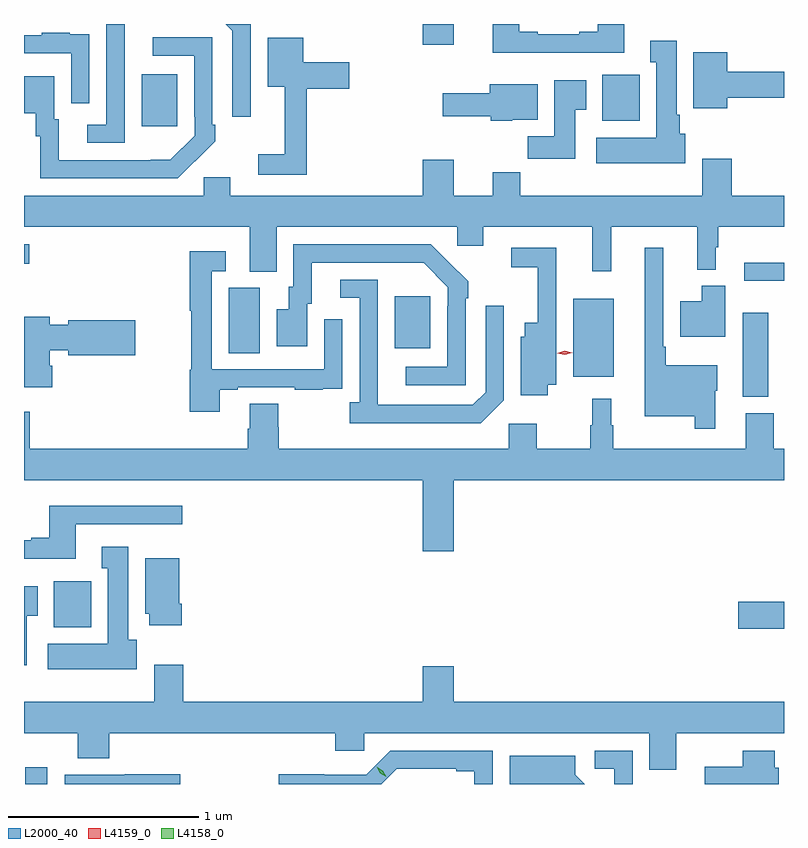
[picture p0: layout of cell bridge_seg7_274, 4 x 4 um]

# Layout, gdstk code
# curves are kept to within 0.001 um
import gdstk
lib = gdstk.Library(unit=1e-6, precision=1e-09)
def R(c, l, rs):  # rectangles x0, y0, x1, y1
    for r in rs: c.add(gdstk.rectangle(r[:2], r[2:], *l))
def P(c, l, *ps):  # polygons
    for p in ps: c.add(gdstk.Polygon(p, *l))
L2000_40 = (2000, 40)
L4158_0 = (4158, 0)
L4159_0 = (4159, 0)

bridge_seg7_274 = lib.new_cell('bridge_seg7_274')
R(bridge_seg7_274, L2000_40, [(126.953,1061.62,127.068,1061.707), (130.704,1062.436,130.946,1062.578), (127.103,1062.446,127.3,1062.688), (130.73,1063.657,130.864,1064.101), (129.836,1063.763,130.051,1064.173), (128.024,1063.888,128.188,1064.232), (128.897,1063.913,129.085,1064.188), (130.737,1064.268,130.946,1064.364), (126.946,1064.359,126.973,1064.46), (127.565,1065.081,127.753,1065.355), (129.989,1065.11,130.186,1065.352), (129.044,1065.51,129.208,1065.62)])
P(bridge_seg7_274, L2000_40, [(130.105,1065.62),(129.965,1065.62),(129.965,1065.58),(129.869,1065.58),(129.869,1065.567),(129.649,1065.567),(129.649,1065.58),(129.553,1065.58),(129.553,1065.62),(129.413,1065.62),(129.413,1065.47),(130.105,1065.47)],
  [(128.139,1065.62),(128.008,1065.62),(128.043,1065.585),(128.043,1065.132),(128.139,1065.132)],
  [(127.476,1065.451),(127.477,1065.451),(127.477,1065.62),(127.38,1065.62),(127.38,1065.09),(127.278,1065.09),(127.278,1064.994),(127.476,1064.994)],
  [(127.29,1065.458),(127.289,1065.458),(127.289,1065.567),(127.187,1065.567),(127.187,1065.574),(127.039,1065.574),(127.039,1065.561),(126.946,1065.561),(126.946,1065.465),(127.194,1065.465),(127.194,1065.204),(127.29,1065.204)],
  [(127.847,1064.899),(127.848,1064.898),(127.953,1065.003),(127.953,1065.091),(127.938,1065.091),(127.938,1065.549),(127.623,1065.549),(127.623,1065.453),(127.842,1065.453),(127.842,1065.133),(127.845,1065.133),(127.845,1065.033),(127.717,1064.905),(127.129,1064.904),(127.129,1065.12),(127.105,1065.12),(127.105,1065.346),(126.946,1065.346),(126.946,1065.149),(127.007,1065.149),(127.007,1065.03),(127.032,1065.03),(127.032,1064.808),(127.756,1064.808)],
  [(128.435,1065.278),(128.659,1065.278),(128.659,1065.42),(128.416,1065.42),(128.416,1065.547),(128.228,1065.547),(128.228,1065.29),(128.318,1065.29),(128.318,1064.935),(128.178,1064.935),(128.178,1064.826),(128.435,1064.826)],
  [(130.426,1065.042),(130.396,1065.042),(130.396,1065.142),(130.381,1065.142),(130.381,1065.532),(130.241,1065.532),(130.241,1065.419),(130.274,1065.419),(130.274,1065.022),(129.957,1065.022),(129.957,1064.888),(130.426,1064.888)],
  [(130.648,1065.232),(130.946,1065.232),(130.946,1065.368),(130.648,1065.368),(130.648,1065.472),(130.469,1065.472),(130.469,1065.176),(130.648,1065.176)],
  [(129.847,1065.169),(129.904,1065.169),(129.904,1065.325),(129.737,1065.325),(129.737,1065.028),(129.598,1065.028),(129.598,1064.91),(129.847,1064.91)],
  [(129.516,1065.116),(129.649,1065.116),(129.649,1065.304),(129.398,1065.304),(129.398,1065.256),(129.15,1065.256),(129.15,1065.134),(129.402,1065.134),(129.402,1065.11),(129.516,1065.11)],
  [(128.275,1064.552),(129.225,1064.552),(129.225,1064.454),(129.364,1064.454),(129.364,1064.552),(129.938,1064.552),(129.938,1064.319),(130.037,1064.319),(130.037,1064.552),(130.489,1064.552),(130.489,1064.327),(130.588,1064.327),(130.588,1064.445),(130.6,1064.445),(130.6,1064.552),(130.946,1064.552),(130.946,1064.716),(130.67,1064.716),(130.67,1064.911),(130.517,1064.911),(130.517,1064.716),(129.557,1064.716),(129.557,1064.84),(129.413,1064.84),(129.413,1064.716),(129.208,1064.716),(129.208,1064.905),(129.044,1064.905),(129.044,1064.716),(128.032,1064.716),(128.032,1064.814),(127.893,1064.814),(127.893,1064.716),(126.946,1064.716),(126.946,1064.552),(128.135,1064.552),(128.135,1064.317),(128.275,1064.317)],
  [(129.27,1064.177),(129.285,1064.177),(129.285,1064.265),(129.088,1064.46),(128.364,1064.46),(128.364,1064.238),(128.339,1064.238),(128.339,1064.119),(128.276,1064.119),(128.276,1063.923),(128.437,1063.923),(128.437,1064.148),(128.461,1064.148),(128.461,1064.364),(129.049,1064.364),(129.177,1064.235),(129.177,1064.135),(129.174,1064.135),(129.174,1063.815),(128.955,1063.815),(128.955,1063.719),(129.27,1063.719)],
  [(130.585,1063.689),(130.594,1063.689),(130.594,1063.825),(130.324,1063.825),(130.324,1063.921),(130.311,1063.921),(130.311,1064.443),(130.214,1064.443),(130.214,1063.556),(130.476,1063.556),(130.476,1063.491),(130.585,1063.491)],
  [(129.703,1063.721),(129.748,1063.721),(129.748,1063.943),(129.747,1063.943),(129.747,1064.442),(129.51,1064.442),(129.51,1064.341),(129.65,1064.341),(129.65,1064.047),(129.581,1064.047),(129.581,1063.974),(129.56,1063.974),(129.56,1063.667),(129.703,1063.667)],
  [(127.975,1063.695),(128.071,1063.695),(128.071,1063.707),(128.371,1063.707),(128.371,1063.695),(128.519,1063.695),(128.519,1063.701),(128.621,1063.701),(128.621,1063.81),(128.622,1063.81),(128.622,1064.065),(128.526,1064.065),(128.526,1063.803),(127.935,1063.803),(127.935,1064.319),(128.008,1064.319),(128.008,1064.425),(127.819,1064.425),(127.819,1064.112),(127.827,1064.112),(127.827,1063.8),(127.819,1063.8),(127.819,1063.578),(127.975,1063.578)],
  [(129.471,1063.641),(129.471,1064.137),(129.375,1064.137),(129.375,1063.683),(129.309,1063.617),(128.809,1063.617),(128.808,1064.274),(128.61,1064.274),(128.61,1064.178),(128.712,1064.178),(128.712,1063.63),(128.661,1063.63),(128.661,1063.52),(129.35,1063.52)],
  [(130.636,1064.242),(130.514,1064.242),(130.514,1064.161),(130.4,1064.161),(130.4,1063.973),(130.636,1063.973)],
  [(127.094,1063.821),(127.081,1063.821),(127.081,1063.902),(127.178,1063.902),(127.178,1063.877),(127.531,1063.877),(127.531,1064.06),(127.178,1064.06),(127.178,1064.036),(127.081,1064.036),(127.081,1064.08),(126.946,1064.08),(126.946,1063.707),(127.094,1063.707)],
  [(129.208,1063.22),(130.946,1063.22),(130.946,1063.384),(130.893,1063.384),(130.893,1063.572),(130.745,1063.572),(130.745,1063.384),(130.048,1063.384),(130.048,1063.508),(130.036,1063.508),(130.036,1063.648),(129.937,1063.648),(129.937,1063.508),(129.927,1063.508),(129.927,1063.384),(129.645,1063.384),(129.645,1063.516),(129.498,1063.516),(129.498,1063.384),(128.288,1063.384),(128.288,1063.497),(128.283,1063.497),(128.283,1063.622),(128.135,1063.622),(128.135,1063.49),(128.123,1063.49),(128.123,1063.384),(126.977,1063.384),(126.977,1063.579),(126.946,1063.579),(126.946,1063.22),(129.044,1063.22),(129.044,1062.846),(129.208,1062.846)],
  [(127.219,1062.987),(127.78,1062.987),(127.78,1063.084),(127.079,1063.084),(127.079,1062.916),(126.983,1062.916),(126.983,1062.903),(126.946,1062.903),(126.946,1062.806),(127.219,1062.806)],
  [(127.54,1062.378),(127.495,1062.378),(127.495,1062.868),(127.355,1062.868),(127.355,1062.755),(127.388,1062.755),(127.388,1062.358),(127.071,1062.358),(127.071,1062.224),(127.54,1062.224)],
  [(127.775,1062.568),(127.762,1062.568),(127.762,1062.808),(127.583,1062.808),(127.583,1062.516),(127.604,1062.516),(127.604,1062.456),(127.775,1062.456)],
  [(126.961,1062.505),(127.018,1062.505),(127.018,1062.661),(126.946,1062.661),(126.946,1062.246),(126.961,1062.246)],
  [(130.378,1061.888),(130.946,1061.888),(130.946,1062.052),(129.208,1062.052),(129.208,1062.241),(129.044,1062.241),(129.044,1062.052),(127.784,1062.052),(127.784,1062.247),(127.631,1062.247),(127.631,1062.052),(126.946,1062.052),(126.946,1061.888),(127.229,1061.888),(127.229,1061.755),(127.394,1061.755),(127.394,1061.888),(128.585,1061.888),(128.585,1061.795),(128.736,1061.795),(128.736,1061.888),(130.238,1061.888),(130.238,1061.694),(130.378,1061.694)],
  [(130.149,1061.796),(129.951,1061.796),(129.951,1061.7),(130.053,1061.7),(130.053,1061.62),(130.149,1061.62)],
  [(128.907,1061.7),(129.221,1061.7),(129.221,1061.688),(129.315,1061.688),(129.315,1061.62),(129.414,1061.62),(129.414,1061.796),(128.874,1061.796),(128.748,1061.67),(128.526,1061.67),(128.526,1061.672),(128.286,1061.672),(128.286,1061.62),(128.827,1061.62)],
  [(130.918,1061.706),(130.897,1061.706),(130.897,1061.794),(130.73,1061.794),(130.73,1061.71),(130.53,1061.71),(130.53,1061.62),(130.918,1061.62)],
  [(129.847,1061.67),(129.847,1061.77),(129.503,1061.77),(129.503,1061.62),(129.897,1061.62)],
  [(127.769,1061.672),(127.477,1061.672),(127.477,1061.67),(127.161,1061.67),(127.161,1061.62),(127.769,1061.62)])
P(bridge_seg7_274, L4158_0, [(128.852,1061.658),(128.82,1061.677),(128.803,1061.71),(128.803,1061.71),(128.803,1061.71),(128.834,1061.691),(128.852,1061.658),(128.852,1061.658)])
P(bridge_seg7_274, L4159_0, [(129.792,1063.879),(129.753,1063.888),(129.752,1063.888),(129.753,1063.888),(129.792,1063.899),(129.831,1063.89),(129.831,1063.89),(129.831,1063.889)])

lib.write_gds('bridge_seg7_274.gds')
